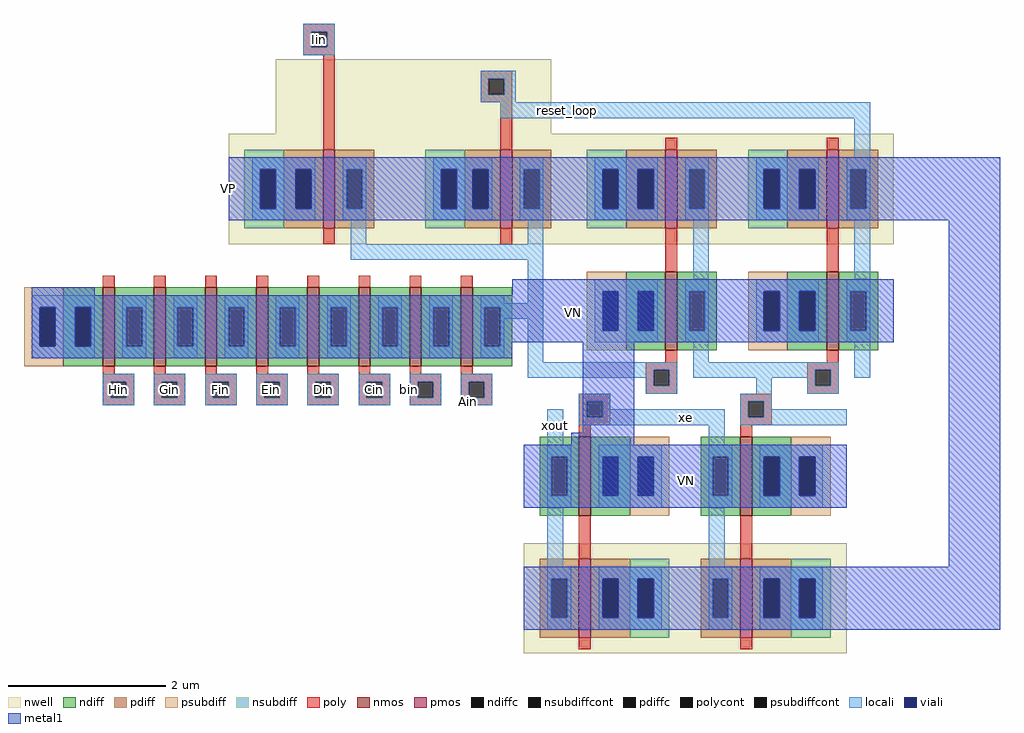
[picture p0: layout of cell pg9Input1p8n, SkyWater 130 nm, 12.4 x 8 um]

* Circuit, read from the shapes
.subckt pg9Input1p8n Ain bin Bin VN xout VP Din Ein Fin Gin Hin Cin Iin
XM1 n1 Hin VN VN sky130_fd_pr__nfet_01v8 w=1 l=0.15
XM2 n2 Gin n1 VN sky130_fd_pr__nfet_01v8 w=1 l=0.15
XM3 n3 Fin n2 VN sky130_fd_pr__nfet_01v8 w=1 l=0.15
XM4 n4 Ein n3 VN sky130_fd_pr__nfet_01v8 w=1 l=0.15
XM5 n5 Din n4 VN sky130_fd_pr__nfet_01v8 w=1 l=0.15
XM6 n6 Cin n5 VN sky130_fd_pr__nfet_01v8 w=1 l=0.15
XM7 n7 Bin n6 VN sky130_fd_pr__nfet_01v8 w=1 l=0.15
XM8 inverter_0/A Ain n7 VN sky130_fd_pr__nfet_01v8 w=1 l=0.15
XM9 VN xe xout VN sky130_fd_pr__nfet_01v8 w=1 l=0.15
XM10 inverter_1/A inverter_0/A VN VN sky130_fd_pr__nfet_01v8 w=1 l=0.15
XM11 VN inverter_1/A xe VN sky130_fd_pr__nfet_01v8 w=1 l=0.15
XM12 reset_loop inverter_1/A VN VN sky130_fd_pr__nfet_01v8 w=1 l=0.15
XM13 inverter_0/A Iin VP VP sky130_fd_pr__pfet_01v8 w=1 l=0.15
XM14 inverter_0/A reset_loop VP VP sky130_fd_pr__pfet_01v8 w=1 l=0.15
XM15 VP xe xout VP sky130_fd_pr__pfet_01v8 w=1 l=0.15
XM16 inverter_1/A inverter_0/A VP VP sky130_fd_pr__pfet_01v8 w=1 l=0.15
XM17 VP inverter_1/A xe VP sky130_fd_pr__pfet_01v8 w=1 l=0.15
XM18 reset_loop inverter_1/A VP VP sky130_fd_pr__pfet_01v8 w=1 l=0.15
.ends

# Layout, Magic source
magic
tech sky130A
<< nwell >>
rect -380 325 -30 420
rect -440 185 -5 325
<< nmos >>
rect -600 30 -585 130
rect -535 30 -520 130
rect -470 30 -455 130
rect -405 30 -390 130
rect -340 30 -325 130
rect -275 30 -260 130
rect -210 30 -195 130
rect -145 30 -130 130
<< pmos >>
rect -320 205 -305 305
rect -95 205 -80 305
<< ndiff >>
rect -650 105 -600 130
rect -650 55 -635 105
rect -615 55 -600 105
rect -650 30 -600 55
rect -585 105 -535 130
rect -585 55 -570 105
rect -550 55 -535 105
rect -585 30 -535 55
rect -520 105 -470 130
rect -520 55 -505 105
rect -485 55 -470 105
rect -520 30 -470 55
rect -455 105 -405 130
rect -455 55 -440 105
rect -420 55 -405 105
rect -455 30 -405 55
rect -390 105 -340 130
rect -390 55 -375 105
rect -355 55 -340 105
rect -390 30 -340 55
rect -325 105 -275 130
rect -325 55 -310 105
rect -290 55 -275 105
rect -325 30 -275 55
rect -260 105 -210 130
rect -260 55 -245 105
rect -225 55 -210 105
rect -260 30 -210 55
rect -195 105 -145 130
rect -195 55 -180 105
rect -160 55 -145 105
rect -195 30 -145 55
rect -130 105 -80 130
rect -130 55 -115 105
rect -95 55 -80 105
rect -130 30 -80 55
<< pdiff >>
rect -370 280 -320 305
rect -370 230 -355 280
rect -335 230 -320 280
rect -370 205 -320 230
rect -305 280 -255 305
rect -305 230 -290 280
rect -270 230 -255 280
rect -305 205 -255 230
rect -140 280 -95 305
rect -140 230 -130 280
rect -110 230 -95 280
rect -140 205 -95 230
rect -80 280 -30 305
rect -80 230 -65 280
rect -45 230 -30 280
rect -80 205 -30 230
<< ndiffc >>
rect -635 55 -615 105
rect -570 55 -550 105
rect -505 55 -485 105
rect -440 55 -420 105
rect -375 55 -355 105
rect -310 55 -290 105
rect -245 55 -225 105
rect -180 55 -160 105
rect -115 55 -95 105
<< pdiffc >>
rect -355 230 -335 280
rect -290 230 -270 280
rect -130 230 -110 280
rect -65 230 -45 280
<< psubdiff >>
rect -700 105 -650 130
rect -700 55 -680 105
rect -660 55 -650 105
rect -700 30 -650 55
<< nsubdiff >>
rect -420 280 -370 305
rect -420 230 -400 280
rect -380 230 -370 280
rect -420 205 -370 230
rect -190 280 -140 305
rect -190 230 -170 280
rect -150 230 -140 280
rect -190 205 -140 230
<< psubdiffcont >>
rect -680 55 -660 105
<< nsubdiffcont >>
rect -400 230 -380 280
rect -170 230 -150 280
<< poly >>
rect -345 455 -305 465
rect -345 435 -335 455
rect -315 435 -305 455
rect -345 425 -305 435
rect -320 305 -305 425
rect -120 395 -80 405
rect -120 375 -110 395
rect -90 375 -80 395
rect -120 365 -80 375
rect -95 305 -80 365
rect -320 185 -305 205
rect -95 185 -80 205
rect -600 130 -585 145
rect -535 130 -520 145
rect -470 130 -455 145
rect -405 130 -390 145
rect -340 130 -325 145
rect -275 130 -260 145
rect -210 130 -195 145
rect -145 130 -130 145
rect -600 20 -585 30
rect -535 20 -520 30
rect -470 20 -455 30
rect -405 20 -390 30
rect -340 20 -325 30
rect -275 20 -260 30
rect -210 20 -195 30
rect -145 20 -130 30
rect -600 10 -560 20
rect -600 -10 -590 10
rect -570 -10 -560 10
rect -600 -20 -560 -10
rect -535 10 -495 20
rect -535 -10 -525 10
rect -505 -10 -495 10
rect -535 -20 -495 -10
rect -470 10 -430 20
rect -470 -10 -460 10
rect -440 -10 -430 10
rect -470 -20 -430 -10
rect -405 10 -365 20
rect -405 -10 -395 10
rect -375 -10 -365 10
rect -405 -20 -365 -10
rect -340 10 -300 20
rect -340 -10 -330 10
rect -310 -10 -300 10
rect -340 -20 -300 -10
rect -275 10 -235 20
rect -275 -10 -265 10
rect -245 -10 -235 10
rect -275 -20 -235 -10
rect -210 10 -170 20
rect -210 -10 -200 10
rect -180 -10 -170 10
rect -210 -20 -170 -10
rect -145 10 -105 20
rect -145 -10 -135 10
rect -115 -10 -105 10
rect -145 -20 -105 -10
<< polycont >>
rect -335 435 -315 455
rect -110 375 -90 395
rect -590 -10 -570 10
rect -525 -10 -505 10
rect -460 -10 -440 10
rect -395 -10 -375 10
rect -330 -10 -310 10
rect -265 -10 -245 10
rect -200 -10 -180 10
rect -135 -10 -115 10
<< locali >>
rect -345 455 -305 465
rect -345 435 -335 455
rect -315 435 -305 455
rect -345 425 -305 435
rect -120 395 -75 405
rect -120 375 -110 395
rect -90 375 -75 395
rect -120 365 -75 375
rect -95 345 375 365
rect 355 295 375 345
rect -410 280 -330 295
rect -410 230 -400 280
rect -380 230 -355 280
rect -335 230 -330 280
rect -410 215 -330 230
rect -295 280 -265 295
rect -295 230 -290 280
rect -270 230 -265 280
rect -295 215 -265 230
rect -180 280 -105 295
rect -180 230 -170 280
rect -150 230 -130 280
rect -110 230 -105 280
rect -180 215 -105 230
rect -70 280 -40 295
rect -70 230 -65 280
rect -45 230 -40 280
rect -70 215 -40 230
rect -285 185 -265 215
rect -60 185 -40 215
rect -285 165 -40 185
rect -690 105 -610 120
rect -690 55 -680 105
rect -660 55 -635 105
rect -615 55 -610 105
rect -690 40 -610 55
rect -575 105 -545 120
rect -575 55 -570 105
rect -550 55 -545 105
rect -575 40 -545 55
rect -510 105 -480 120
rect -510 55 -505 105
rect -485 55 -480 105
rect -510 40 -480 55
rect -445 105 -415 120
rect -445 55 -440 105
rect -420 55 -415 105
rect -445 40 -415 55
rect -380 105 -350 120
rect -380 55 -375 105
rect -355 55 -350 105
rect -380 40 -350 55
rect -315 105 -285 120
rect -315 55 -310 105
rect -290 55 -285 105
rect -315 40 -285 55
rect -250 105 -220 120
rect -250 55 -245 105
rect -225 55 -220 105
rect -250 40 -220 55
rect -185 105 -155 120
rect -185 55 -180 105
rect -160 55 -155 105
rect -185 40 -155 55
rect -120 110 -90 120
rect -60 110 -40 165
rect -120 105 -40 110
rect -120 55 -115 105
rect -95 90 -40 105
rect -95 55 -90 90
rect -120 40 -90 55
rect -60 35 -40 90
rect -600 10 -560 20
rect -600 -10 -590 10
rect -570 -10 -560 10
rect -600 -20 -560 -10
rect -535 10 -495 20
rect -535 -10 -525 10
rect -505 -10 -495 10
rect -535 -20 -495 -10
rect -470 10 -430 20
rect -470 -10 -460 10
rect -440 -10 -430 10
rect -470 -20 -430 -10
rect -405 10 -365 20
rect -405 -10 -395 10
rect -375 -10 -365 10
rect -405 -20 -365 -10
rect -340 10 -300 20
rect -340 -10 -330 10
rect -310 -10 -300 10
rect -340 -20 -300 -10
rect -275 10 -235 20
rect -275 -10 -265 10
rect -245 -10 -235 10
rect -275 -20 -235 -10
rect -210 10 -170 20
rect -210 -10 -200 10
rect -180 -10 -170 10
rect -210 -20 -170 -10
rect -145 10 -105 20
rect -60 15 -5 35
rect 10 15 20 35
rect 165 15 200 35
rect -145 -10 -135 10
rect -115 -10 -105 10
rect -145 -20 -105 -10
rect 230 -15 250 25
rect -35 -55 -15 -25
rect 140 -45 185 -25
<< viali >>
rect -400 230 -380 280
rect -355 230 -335 280
rect -170 230 -150 280
rect -130 230 -110 280
rect -680 55 -660 105
rect -635 55 -615 105
<< metal1 >>
rect -440 280 -5 295
rect -440 230 -400 280
rect -380 230 -355 280
rect -335 230 -170 280
rect -150 230 -130 280
rect -110 230 -5 280
rect -440 220 -5 230
rect -440 215 20 220
rect 405 215 540 295
rect -690 120 -610 130
rect -80 120 105 140
rect -690 105 105 120
rect -690 55 -680 105
rect -660 55 -635 105
rect -615 60 105 105
rect -615 55 -80 60
rect -690 40 -80 55
rect 10 -55 75 60
rect -5 -70 75 -55
rect -5 -150 140 -70
rect 475 -225 540 215
rect 345 -305 540 -225
use inverter  inverter_3
transform -1 0 -5 0 -1 -80
box -145 -75 60 255
use inverter  inverter_2
transform -1 0 200 0 -1 -80
box -145 -75 60 255
use inverter  inverter_0
transform 1 0 140 0 1 70
box -145 -75 60 255
use inverter  inverter_1
transform 1 0 345 0 1 70
box -145 -75 60 255
<< labels >>
rlabel locali 140 -35 140 -35 7 xe
rlabel space 142 -115 142 -115 7 VN
port 3 w
rlabel locali -135 -15 -135 -15 7 Ain
port 0 w
rlabel locali -210 0 -210 0 1 bin
port 1 n
rlabel locali -210 0 -210 0 7 Bin
port 2 w
rlabel locali -340 -20 -300 20 7 Din
port 7 w
rlabel poly -470 -20 -430 20 7 Fin
port 9 w
rlabel locali -535 -20 -495 20 3 Gin
port 10 e
rlabel locali -600 -20 -560 20 7 Hin
port 11 w
rlabel locali -275 -20 -235 20 7 Cin
port 13 w
rlabel locali -405 -20 -365 20 7 Ein
port 8 w
rlabel metal1 -440 255 -440 255 7 VP
port 5 w
rlabel locali -345 425 -305 465 7 Iin
port 14 w
rlabel locali -10 355 -10 355 7 reset_loop
rlabel metal1 -15 85 10 110 7 VN
port 15 w
rlabel locali -30 -50 -20 -40 7 xout
port 4 w
<< end >>

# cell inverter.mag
magic
tech sky130A
<< nwell >>
rect -145 115 60 255
<< nmos >>
rect -25 -20 -10 80
<< pmos >>
rect -25 135 -10 235
<< ndiff >>
rect -75 55 -25 80
rect -75 5 -60 55
rect -40 5 -25 55
rect -75 -20 -25 5
rect -10 55 40 80
rect -10 5 5 55
rect 25 5 40 55
rect -10 -20 40 5
<< pdiff >>
rect -75 210 -25 235
rect -75 160 -60 210
rect -40 160 -25 210
rect -75 135 -25 160
rect -10 210 40 235
rect -10 160 5 210
rect 25 160 40 210
rect -10 135 40 160
<< ndiffc >>
rect -60 5 -40 55
rect 5 5 25 55
<< pdiffc >>
rect -60 160 -40 210
rect 5 160 25 210
<< psubdiff >>
rect -125 55 -75 80
rect -125 5 -105 55
rect -85 5 -75 55
rect -125 -20 -75 5
<< nsubdiff >>
rect -125 210 -75 235
rect -125 160 -105 210
rect -85 160 -75 210
rect -125 135 -75 160
<< psubdiffcont >>
rect -105 5 -85 55
<< nsubdiffcont >>
rect -105 160 -85 210
<< poly >>
rect -25 235 -10 250
rect -25 80 -10 135
rect -25 -35 -10 -20
rect -50 -45 -10 -35
rect -50 -65 -40 -45
rect -20 -65 -10 -45
rect -50 -75 -10 -65
<< polycont >>
rect -40 -65 -20 -45
<< locali >>
rect -115 210 -35 225
rect -115 160 -105 210
rect -85 160 -60 210
rect -40 160 -35 210
rect -115 145 -35 160
rect 0 210 30 225
rect 0 160 5 210
rect 25 160 30 210
rect 0 145 30 160
rect 10 70 30 145
rect -115 55 -35 70
rect -115 5 -105 55
rect -85 5 -60 55
rect -40 5 -35 55
rect -115 -10 -35 5
rect 0 55 30 70
rect 0 5 5 55
rect 25 5 30 55
rect 0 -10 30 5
rect -145 -45 -10 -35
rect -145 -55 -40 -45
rect -50 -65 -40 -55
rect -20 -65 -10 -45
rect 10 -55 30 -10
rect -50 -75 -10 -65
<< viali >>
rect -105 160 -85 210
rect -60 160 -40 210
rect -105 5 -85 55
rect -60 5 -40 55
<< metal1 >>
rect -145 210 60 225
rect -145 160 -105 210
rect -85 160 -60 210
rect -40 160 60 210
rect -145 145 60 160
rect -145 55 60 70
rect -145 5 -105 55
rect -85 5 -60 55
rect -40 5 60 55
rect -145 -10 60 5
<< labels >>
rlabel locali -145 -45 -145 -45 7 A
port 1 w
rlabel locali 23 -33 23 -33 1 Y
port 2 n
rlabel metal1 -141 185 -141 185 3 VP
port 3 e
rlabel metal1 -138 26 -138 26 1 VN
port 4 n
<< end >>
